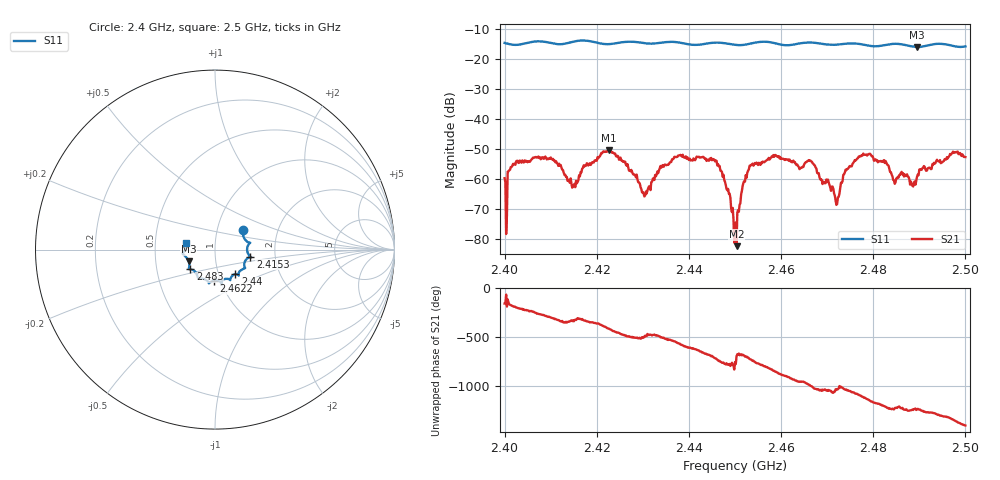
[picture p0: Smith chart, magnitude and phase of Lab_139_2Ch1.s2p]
# Hz S RI R 50
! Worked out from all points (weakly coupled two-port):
!   601 points, 2.4 GHz to 2.5 GHz, reference 50 ohm
!   highest |S21| = -50.25 dB at 2.4227 GHz (marker M1); lowest = -82.4 dB at 2.4503 GHz (marker M2)
!   lowest |S11| = -15.9 dB at 2.4895 GHz (marker M3), VSWR 1.38, Z = 36.9 - j4.99 ohm
!   |S11| at or under -10 dB: start of sweep to end of sweep
!   S12 and S22 are empty: the file has one direction only
!   S11 on the Smith chart (normalised r, x): 2.4 GHz: 1.33, +0.29; 2.4153 GHz: 1.48, -0.12; 2.44 GHz: 1.20, -0.34; 2.4622 GHz: 0.93, -0.33; 2.483 GHz: 0.74, -0.17; 2.5 GHz: 0.72, +0.06
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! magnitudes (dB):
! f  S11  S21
! 2.4 GHz  -14.5  -59.7
! 2.4017 GHz  -15.1  -55.7
! 2.4068 GHz  -14.0  -52.6
! 2.4153 GHz  -14.0  -62.7
! 2.4167 GHz  -13.7  -57.8
! 2.4227 GHz  -14.9  -50.2
! 2.4303 GHz  -14.6  -65.8
! 2.4333 GHz  -14.6  -58.0
! 2.44 GHz  -15.0  -53.6
! 2.4462 GHz  -14.4  -55.5
! 2.45 GHz  -15.1  -76.2
! 2.4503 GHz  -15.2  -82.4
! 2.4533 GHz  -14.8  -55.5
! 2.4622 GHz  -15.2  -54.0
! 2.4667 GHz  -14.4  -54.2
! 2.4722 GHz  -15.1  -68.3
! 2.474 GHz  -14.8  -56.9
! 2.4773 GHz  -14.9  -52.4
! 2.483 GHz  -15.1  -55.1
! 2.4833 GHz  -15.0  -55.6
! 2.4895 GHz  -15.9  -59.2
! 2.5 GHz  -15.7  -52.7
